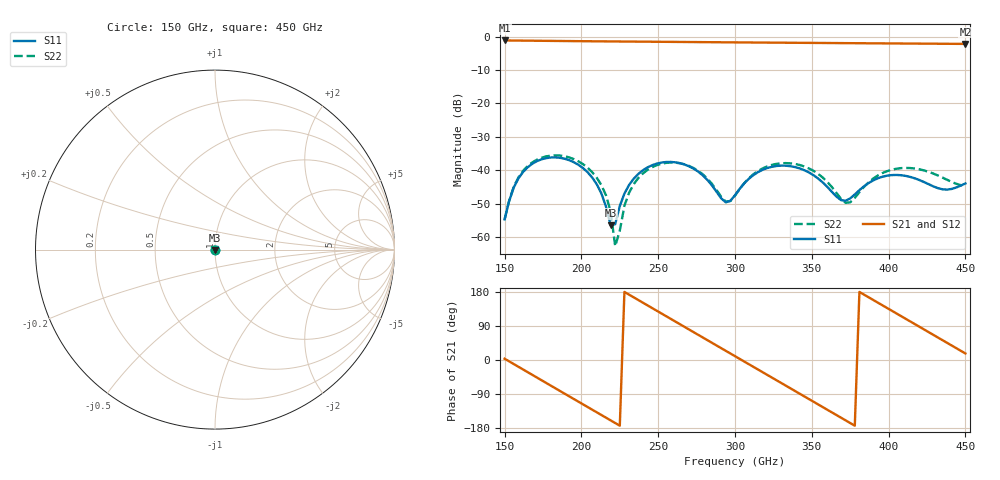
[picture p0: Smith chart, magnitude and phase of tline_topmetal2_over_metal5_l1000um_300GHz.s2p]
#  GHZ S DB R 50
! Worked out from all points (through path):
!   101 points, 150 GHz to 450 GHz, reference 50 ohm
!   highest |S21| = -1.17 dB at 150 GHz (marker M1); lowest = -2.2 dB at 450 GHz (marker M2)
!   group delay of S21, straight-line fit = 6.54 ps
!   lowest |S11| = -56.4 dB at 219 GHz (marker M3), VSWR 1.00, Z = 50 - j0.146 ohm
!   |S11| at or under -10 dB: start of sweep to end of sweep
!   |S22| runs from -62.7 to -35.5 dB; largest |S21 - S12| = 1e-13
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150  -54.64 -32.3  -1.17 3.4  -1.17 3.4  -54.66 -34.6
156  -45.08 4.7  -1.19 -10.8  -1.19 -10.8  -44.84 3.2
168  -38.03 -13.1  -1.24 -39.1  -1.24 -39.1  -37.63 -15.3
186  -36.24 -52.3  -1.32 -81.6  -1.32 -81.6  -35.57 -55.6
201  -39.31 -84.3  -1.39 -116.9  -1.39 -116.9  -38.13 -89.8
213  -46.89 -101.9  -1.44 -145.1  -1.44 -145.1  -44.41 -115.4
219  -56.43 -74.7  -1.46 -159.2  -1.46 -159.2  -52.21 -123.3
222  -56.08 -12.0  -1.47 -166.3  -1.47 -166.3  -62.66 -105.4
228  -46.95 11.5  -1.49 179.6  -1.49 179.6  -50.59 17.8
234  -42.52 4.1  -1.51 165.5  -1.51 165.5  -44.16 7.8
252  -37.68 -35.5  -1.57 123.1  -1.57 123.1  -38.03 -35.0
273  -39.47 -92.6  -1.65 73.6  -1.65 73.6  -39.31 -93.2
294  -49.56 148.0  -1.72 24.2  -1.72 24.2  -49.35 151.2
300  -47.42 87.2  -1.74 10.1  -1.74 10.1  -47.56 87.7
315  -40.52 17.0  -1.79 -25.2  -1.79 -25.2  -40.18 14.8
330  -38.59 -29.4  -1.84 -60.4  -1.84 -60.4  -37.88 -31.7
351  -41.41 -95.9  -1.90 -109.8  -1.90 -109.8  -40.12 -96.0
372  -49.10 134.7  -1.97 -159.2  -1.97 -159.2  -49.69 144.8
387  -43.78 40.1  -2.02 165.5  -2.02 165.5  -43.58 31.9
402  -41.41 -15.6  -2.06 130.2  -2.06 130.2  -39.82 -23.7
426  -44.12 -111.7  -2.13 73.7  -2.13 73.7  -40.43 -107.6
450  -43.93 107.7  -2.20 17.2  -2.20 17.2  -44.62 130.5
